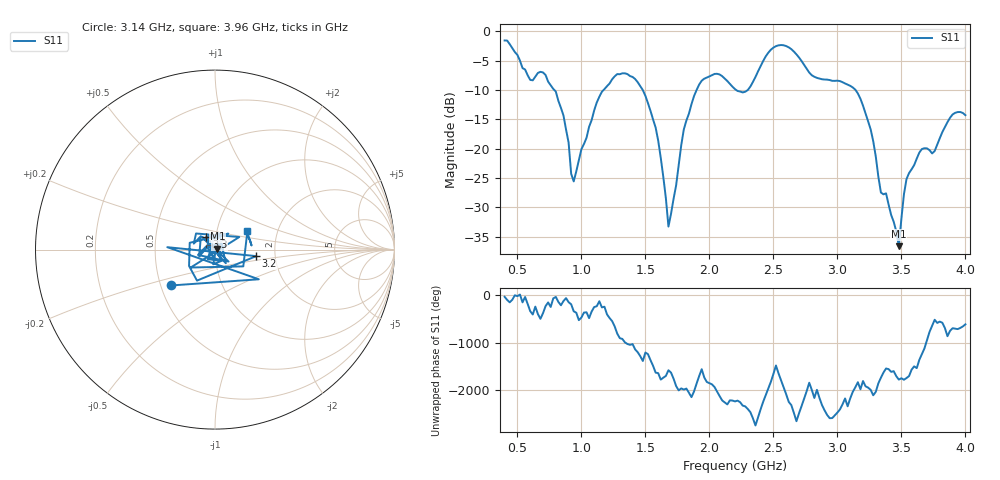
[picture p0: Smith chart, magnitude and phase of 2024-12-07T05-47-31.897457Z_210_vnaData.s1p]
!Created with skrf (http://scikit-rf.org).
# Hz S RI R 50.0
!freq ReS11 ImS11
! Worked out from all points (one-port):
!   181 points, 400 MHz to 4 GHz, reference 50 ohm
!   lowest |S11| = -36.6 dB at 3.48 GHz (marker M1), VSWR 1.03, Z = 51.4 + j0.559 ohm
!   |S11| at or under -10 dB: 788.1 MHz to 1.174 GHz (385.6 MHz wide, 39.3 % of centre); 1.479 GHz to 1.9 GHz (421.2 MHz wide, 24.9 % of centre); 3.141 GHz to end of sweep (the widest 3 of 4)
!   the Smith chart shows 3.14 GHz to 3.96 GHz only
!   S11 on the Smith chart (normalised r, x): 3.14 GHz: 0.56, -0.25; 3.2 GHz: 1.59, -0.12; 3.3 GHz: 0.90, +0.13; 3.96 GHz: 1.39, +0.30
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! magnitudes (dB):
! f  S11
! 400 MHz  -1.6
! 600 MHz  -8.3
! 720 MHz  -7.5
! 860 MHz  -14.4
! 940 MHz  -25.6
! 1.12 GHz  -12.1
! 1.3 GHz  -7.3
! 1.54 GHz  -13.6
! 1.6 GHz  -18.6
! 1.68 GHz  -33.3
! 1.76 GHz  -22.8
! 1.8 GHz  -16.7
! 1.94 GHz  -8.4
! 2.2 GHz  -9.9
! 2.3 GHz  -10.0
! 2.5 GHz  -2.8
! 2.66 GHz  -3.5
! 3.1 GHz  -9.3
! 3.14 GHz  -10.0
! 3.2 GHz  -12.7
! 3.3 GHz  -21.3
! 3.34 GHz  -27.5
! 3.38 GHz  -27.6
! 3.48 GHz  -36.6
! 3.52 GHz  -27.7
! 3.56 GHz  -24.1
! 3.96 GHz  -13.8
! 4 GHz  -14.3
